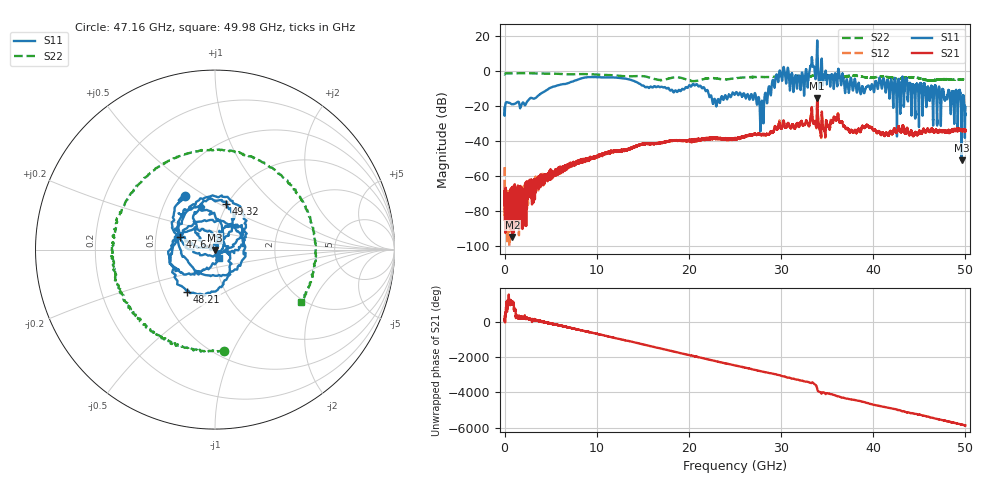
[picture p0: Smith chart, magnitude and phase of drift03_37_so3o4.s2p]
!Created with skrf (http://scikit-rf.org).
# Hz S RI R 50.0
!freq ReS11 ImS11 ReS21 ImS21 ReS12 ImS12 ReS22 ImS22
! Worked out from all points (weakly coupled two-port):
!   10001 points, 300 kHz to 50 GHz, reference 50 ohm
!   highest |S21| = -15.48 dB at 33.92 GHz (marker M1); lowest = -94.9 dB at 840.3 MHz (marker M2)
!   lowest |S11| = -51.1 dB at 49.59 GHz (marker M3), VSWR 1.01, Z = 49.9 - j0.273 ohm
!   |S11| at or under -10 dB: start of sweep to 4.849 GHz; 21.69 GHz to 28.62 GHz (6.935 GHz wide, 27.6 % of centre); 47.19 GHz to end of sweep (the widest 3 of 42)
!   |S22| runs from -5.9 to -1.3 dB; largest |S21 - S12| = 0.018
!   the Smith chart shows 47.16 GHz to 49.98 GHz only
!   S11 on the Smith chart (normalised r, x): 47.16 GHz: 0.61, +0.41; 47.67 GHz: 0.66, +0.10; 48.21 GHz: 0.66, -0.34; 49.32 GHz: 0.99, +0.53; 49.98 GHz: 1.04, -0.10
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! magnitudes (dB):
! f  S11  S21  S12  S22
! 300 kHz  -21.2  -67.7  -55.0  -2.1
! 255.3 MHz  -17.9  -81.7  -77.4  -1.4
! 840.3 MHz  -19.1  -94.9  -80.8  -1.5
! 8.335 GHz  -4.3  -51.8  -51.4  -1.9
! 16.67 GHz  -8.8  -41.4  -41.4  -5.2
! 21.01 GHz  -8.7  -39.3  -39.1  -5.6
! 22.81 GHz  -16.1  -38.7  -38.7  -4.3
! 25 GHz  -13.4  -39.1  -38.9  -4.3
! 27.92 GHz  -17.1  -36.4  -36.5  -3.5
! 29.69 GHz  -6.5  -32.1  -31.8  -3.1
! 32.32 GHz  -1.5  -30.5  -30.7  -3.3
! 33.34 GHz  7.8  -20.7  -20.9  -2.9
! 33.92 GHz  17.3  -15.5  -15.8  -2.5
! 38.82 GHz  -8.9  -31.4  -31.8  -3.4
! 41.67 GHz  -8.9  -37.1  -36.6  -3.6
! 47.16 GHz  -9.3  -34.6  -34.6  -5.0
! 47.67 GHz  -13.6  -34.3  -34.4  -4.8
! 48.21 GHz  -11.0  -34.1  -34.1  -4.9
! 49.32 GHz  -11.7  -33.8  -33.6  -5.1
! 49.59 GHz  -51.1  -33.9  -34.0  -5.0
! 49.98 GHz  -25.6  -34.5  -33.9  -5.1
! 50 GHz  -20.7  -34.5  -33.8  -5.0
